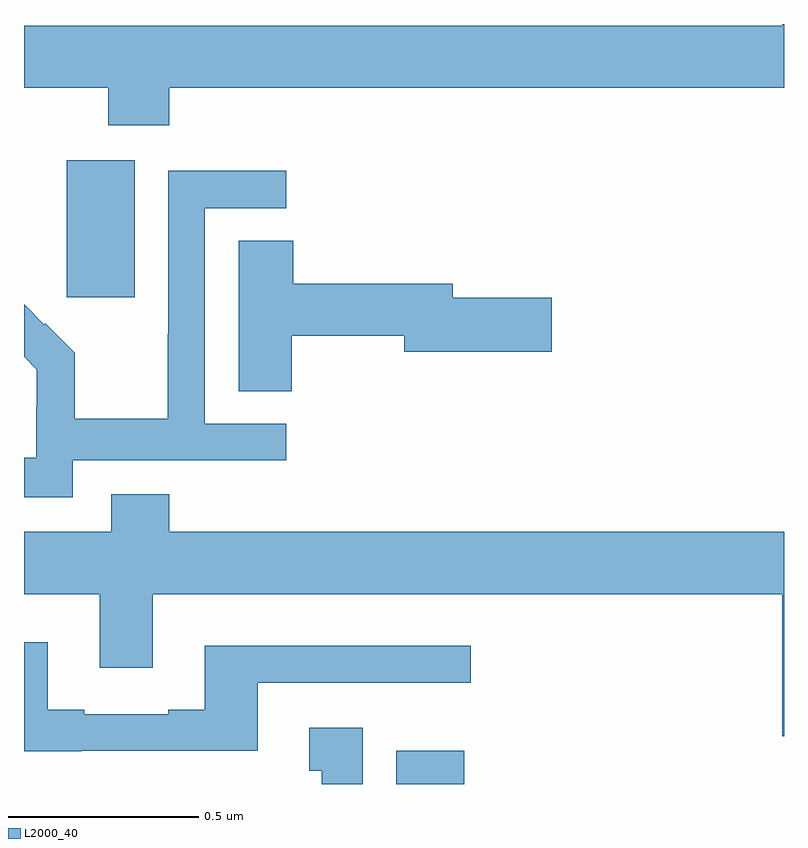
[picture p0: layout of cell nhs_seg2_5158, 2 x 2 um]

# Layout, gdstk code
import gdstk
lib = gdstk.Library(unit=1e-6, precision=1e-09)
def R(c, l, rs):  # rectangles x0, y0, x1, y1
    for r in rs: c.add(gdstk.rectangle(r[:2], r[2:], *l))
def P(c, l, *ps):  # polygons
    for p in ps: c.add(gdstk.Polygon(p, *l))
L2000_40 = (2000, 40)

nhs_seg2_5158 = lib.new_cell('nhs_seg2_5158')
R(nhs_seg2_5158, L2000_40, [(175.979,649.8,176.158,649.888), (175.112,651.081,175.291,651.442)])
P(nhs_seg2_5158, L2000_40, [(175.382,651.632),(177,651.632),(177,651.8),(176.996,651.8),(176.996,651.796),(175,651.796),(175,651.632),(175.222,651.632),(175.222,651.533),(175.382,651.533)],
  [(175.128,650.652),(175.69,650.652),(175.69,650.748),(175.476,650.748),(175.476,651.315),(175.69,651.315),(175.69,651.414),(175.38,651.414),(175.38,650.984),(175.378,650.984),(175.378,650.761),(175.133,650.761),(175.133,650.935),(175.056,651.012),(175.053,651.009),(175,651.063),(175,650.924),(175.034,650.89),(175.034,650.793),(175.032,650.793),(175.032,650.659),(175,650.659),(175,650.555),(175.128,650.555)],
  [(175.704,650.98),(176,650.98),(176,650.938),(176.389,650.938),(176.389,651.08),(176.128,651.08),(176.128,651.116),(175.709,651.116),(175.709,651.23),(175.565,651.23),(175.565,650.833),(175.704,650.833)],
  [(177,650.464),(175.382,650.464),(175.382,650.563),(175.229,650.563),(175.229,650.464),(175,650.464),(175,650.3),(175.199,650.3),(175.199,650.106),(175.339,650.106),(175.339,650.3),(176.996,650.3),(176.996,649.926),(177,649.926)],
  [(175.151,649.887),(175.615,649.887),(175.615,650.067),(176.176,650.067),(176.176,650.164),(175.475,650.164),(175.475,649.996),(175.379,649.996),(175.379,649.983),(175.159,649.983),(175.159,649.996),(175.063,649.996),(175.063,650.173),(175,650.173),(175,649.886),(175.151,649.886)],
  [(175.891,649.948),(175.751,649.948),(175.751,649.835),(175.784,649.835),(175.784,649.8),(175.891,649.8)])

lib.write_gds('nhs_seg2_5158.gds')
